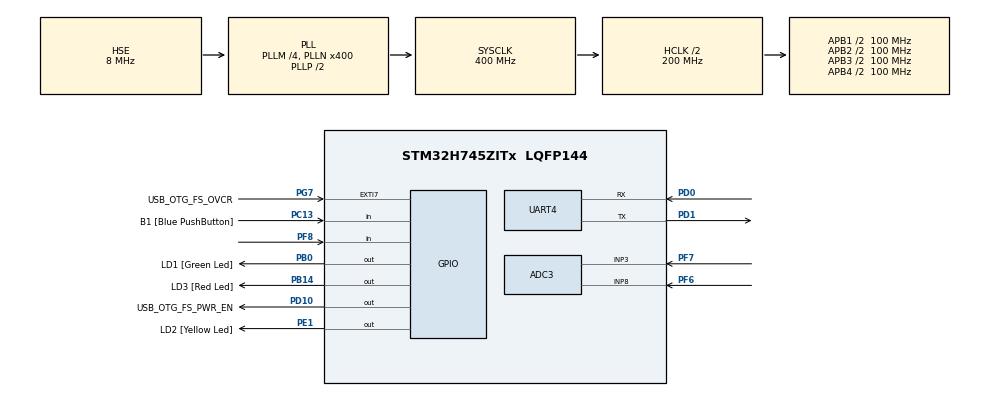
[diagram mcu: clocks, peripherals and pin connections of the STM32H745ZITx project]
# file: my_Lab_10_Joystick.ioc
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ADC3.Channel-0\#ChannelRegularConversion=ADC_CHANNEL_8
ADC3.Channel-1\#ChannelRegularConversion=ADC_CHANNEL_3
ADC3.DiscontinuousConvMode=ENABLE
ADC3.NbrOfConversion=2
ADC3.NbrOfConversionFlag=1
ADC3.OffsetNumber-0\#ChannelRegularConversion=ADC_OFFSET_NONE
ADC3.OffsetNumber-1\#ChannelRegularConversion=ADC_OFFSET_NONE
ADC3.OffsetSignedSaturation-0\#ChannelRegularConversion=DISABLE
ADC3.OffsetSignedSaturation-1\#ChannelRegularConversion=DISABLE
ADC3.Rank-0\#ChannelRegularConversion=1
ADC3.Rank-1\#ChannelRegularConversion=2
ADC3.SamplingTime-0\#ChannelRegularConversion=ADC_SAMPLETIME_1CYCLE_5
ADC3.SamplingTime-1\#ChannelRegularConversion=ADC_SAMPLETIME_1CYCLE_5
CortexM4.IPs=FATFS_M4\:I,FREERTOS_M4\:I,IWDG2\:I,RCC,WWDG2\:I,DMA,BDMA,MDMA,NVIC2\:I,USART3,ETH,DEBUG,PDM2PCM_M4\:I,PWR,RESMGR_UTILITY,SYS_M4\:I,USB_DEVICE_M4\:I,USB_HOST_M4\:I,CORTEX_M4\:I,GPIO,OPENAMP_M4\:I,VREFBUF
CortexM7.IPs=FATFS_M7\:I,FREERTOS_M7\:I,IWDG1\:I,RCC\:I,WWDG1\:I,DMA\:I,BDMA\:I,MDMA\:I,NVIC1\:I,SYS\:I,USART3\:I,USB_OTG_FS\:I,ETH\:I,CORTEX_M7\:I,DEBUG\:I,PDM2PCM_M7\:I,PWR\:I,RESMGR_UTILITY\:I,USB_DEVICE_M7\:I,USB_HOST_M7\:I,GPIO\:I,OPENAMP_M7\:I,VREFBUF\:I,ADC3\:I,UART4\:I
CortexM7.Pins=PF8
Mcu.Family=STM32H7
Mcu.Name=STM32H745ZITx
Mcu.Package=LQFP144
NVIC1.PriorityGroup=NVIC_PRIORITYGROUP_4
NVIC2.PriorityGroup=NVIC_PRIORITYGROUP_4
PA1.PinAttribute=CortexM7
PA1.Signal=ETH_REF_CLK
PA11.PinAttribute=CortexM7
PA11.Signal=USB_OTG_FS_DM
PA12.PinAttribute=CortexM7
PA12.Signal=USB_OTG_FS_DP
PA2.PinAttribute=CortexM7
PA2.Signal=ETH_MDIO
PA7.PinAttribute=CortexM7
PA7.Signal=ETH_CRS_DV
PA8.PinAttribute=CortexM7
PA8.Signal=USB_OTG_FS_SOF
PA9.PinAttribute=CortexM7
PA9.Signal=USB_OTG_FS_VBUS
PB0.GPIO_Label=LD1 [Green Led]
PB0.PinAttribute=Free
PB0.Signal=GPIO_Output
PB13.PinAttribute=CortexM7
PB13.Signal=ETH_TXD1
PB14.GPIO_Label=LD3 [Red Led]
PB14.PinAttribute=Free
PB14.Signal=GPIO_Output
PC1.PinAttribute=CortexM7
PC1.Signal=ETH_MDC
PC13.GPIO_Label=B1 [Blue PushButton]
PC13.PinAttribute=Free
PC13.Signal=GPIO_Input
PC14-OSC32_IN\ (OSC32_IN).PinAttribute=CortexM7
PC14-OSC32_IN\ (OSC32_IN).Signal=RCC_OSC32_IN
PC15-OSC32_OUT\ (OSC32_OUT).PinAttribute=CortexM7
PC15-OSC32_OUT\ (OSC32_OUT).Signal=RCC_OSC32_OUT
PC4.PinAttribute=CortexM7
PC4.Signal=ETH_RXD0
PC5.PinAttribute=CortexM7
PC5.Signal=ETH_RXD1
PD0.Mode=Asynchronous
PD0.PinAttribute=CortexM7
PD0.Signal=UART4_RX
PD1.Mode=Asynchronous
PD1.PinAttribute=CortexM7
PD1.Signal=UART4_TX
PD10.GPIO_Label=USB_OTG_FS_PWR_EN
PD10.PinAttribute=Free
PD10.Signal=GPIO_Output
PD8.GPIO_Label=STLINK_RX
PD8.PinAttribute=CortexM7
PD8.Signal=USART3_TX
PD9.GPIO_Label=STLINK_TX
PD9.PinAttribute=CortexM7
PD9.Signal=USART3_RX
PE1.GPIO_Label=LD2 [Yellow Led]
PE1.PinAttribute=Free
PE1.Signal=GPIO_Output
PF6.Mode=IN8-Single-Ended
PF6.PinAttribute=CortexM7
PF6.Signal=ADC3_INP8
PF7.Mode=IN3-Single-Ended
PF7.PinAttribute=CortexM7
PF7.Signal=ADC3_INP3
PF8.GPIO_Mode=GPIO_MODE_INPUT
PF8.GPIO_PuPd=GPIO_PULLDOWN
PF8.PinAttribute=CortexM7
PF8.Signal=GPIO_Input
PG11.PinAttribute=CortexM7
PG11.Signal=ETH_TX_EN
PG13.PinAttribute=CortexM7
PG13.Signal=ETH_TXD0
PG7.GPIO_Label=USB_OTG_FS_OVCR
PG7.PinAttribute=Free
PG7.Signal=GPXTI7
PH0-OSC_IN\ (PH0).Mode=HSE-External-Clock-Source
PH0-OSC_IN\ (PH0).PinAttribute=CortexM7
PH0-OSC_IN\ (PH0).Signal=RCC_OSC_IN
PH1-OSC_OUT\ (PH1).PinAttribute=CortexM7
PH1-OSC_OUT\ (PH1).Signal=RCC_OSC_OUT
ProjectManager.HeapSize=M4-0x200,M7-0x200
ProjectManager.StackSize=M4-0x400,M7-0x400
ProjectManager.TargetToolchain=STM32CubeIDE
RCC.ADCFreq_Value=76000000
RCC.APB1Freq_Value=100000000
RCC.APB2Freq_Value=100000000
RCC.APB3Freq_Value=100000000
RCC.APB4Freq_Value=100000000
RCC.CortexFreq_Value=400000000
RCC.D1PPRE=RCC_APB3_DIV2
RCC.D2PPRE1=RCC_APB1_DIV2
RCC.D2PPRE2=RCC_APB2_DIV2
RCC.D3PPRE=RCC_APB4_DIV2
RCC.DIVM1=4
RCC.DIVM2=1
RCC.DIVM3=22
RCC.DIVN1=400
RCC.DIVN2=19
RCC.DIVN3=169
RCC.DIVQ3=4
RCC.HCLKFreq_Value=200000000
RCC.HPRE=RCC_HCLK_DIV2
RCC.HSE_VALUE=8000000
RCC.PLL2FRACN=0
RCC.PLL3FRACN=0
RCC.PLLFRACN=0
RCC.PLLSourceVirtual=RCC_PLLSOURCE_HSE
RCC.SYSCLKFreq_VALUE=400000000
RCC.SYSCLKSource=RCC_SYSCLKSOURCE_PLLCLK
RCC.SupplySource=PWR_DIRECT_SMPS_SUPPLY
RCC.USBCLockSelection=RCC_USBCLKSOURCE_PLL3
RCC.USBFreq_Value=15363636.363636363
VP_SYS_M4_VS_Systick.Mode=SysTick
board=NUCLEO-H745ZI-Q

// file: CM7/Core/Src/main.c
/* USER CODE BEGIN Header */
/**
  ******************************************************************************
  * @file           : main.c
  * @brief          : Main program body
  ******************************************************************************
  * @attention
  *
  * Copyright (c) 2024 STMicroelectronics.
  * All rights reserved.
  *
  * This software is licensed under terms that can be found in the LICENSE file
  * in the root directory of this software component.
  * If no LICENSE file comes with this software, it is provided AS-IS.
  *
  ******************************************************************************
  */
/* USER CODE END Header */
#include "main.h"

/* USER CODE BEGIN Includes */
#include <stdio.h>
int __io_putchar(int ch)
{
  // Write character to ITM ch.0
  ITM_SendChar(ch);
  return(ch);
}
/* USER CODE END Includes */

/* USER CODE BEGIN PD */

#ifndef HSEM_ID_0
#define HSEM_ID_0 (0U) /* HW semaphore 0*/
#endif
/* USER CODE END PD */

ADC_HandleTypeDef hadc3;

UART_HandleTypeDef huart4;

void SystemClock_Config(void);
static void MX_GPIO_Init(void);
static void MX_ADC3_Init(void);
static void MX_UART4_Init(void);

int main(void)
{
/* USER CODE BEGIN Boot_Mode_Sequence_0 */
  int32_t timeout;
/* USER CODE END Boot_Mode_Sequence_0 */

/* USER CODE BEGIN Boot_Mode_Sequence_1 */
  /* Wait until CPU2 boots and enters in stop mode or timeout*/
  timeout = 0xFFFF;
  while((__HAL_RCC_GET_FLAG(RCC_FLAG_D2CKRDY) != RESET) && (timeout-- > 0));
  if ( timeout < 0 )
  {
  Error_Handler();
  }
/* USER CODE END Boot_Mode_Sequence_1 */
  /* MCU Configuration--------------------------------------------------------*/

  /* Reset of all peripherals, Initializes the Flash interface and the Systick. */
  HAL_Init();

  /* Configure the system clock */
  SystemClock_Config();
/* USER CODE BEGIN Boot_Mode_Sequence_2 */
/* When system initialization is finished, Cortex-M7 will release Cortex-M4 by means of
HSEM notification */
/*HW semaphore Clock enable*/
__HAL_RCC_HSEM_CLK_ENABLE();
/*Take HSEM */
HAL_HSEM_FastTake(HSEM_ID_0);
/*Release HSEM in order to notify the CPU2(CM4)*/
HAL_HSEM_Release(HSEM_ID_0,0);
/* wait until CPU2 wakes up from stop mode */
timeout = 0xFFFF;
while((__HAL_RCC_GET_FLAG(RCC_FLAG_D2CKRDY) == RESET) && (timeout-- > 0));
if ( timeout < 0 )
{
Error_Handler();
}
/* USER CODE END Boot_Mode_Sequence_2 */

  /* Initialize all configured peripherals */
  MX_GPIO_Init();
  MX_ADC3_Init();
  MX_UART4_Init();
  /* USER CODE BEGIN 2 */

  uint8_t x = 0;
  uint8_t y = 0;

  uint32_t x_value = 0;
  uint32_t y_value = 0;

  uint8_t convert_range_new(uint32_t i) {
      if (i > 65535) i = 65535;  // Нижняя граница не нужна: uint32_t >= 0 всегда

      return (i * 200) / 65535;
  }

  GPIO_PinState curr_state_but = GPIO_PIN_RESET;
  uint8_t flag = 0;
  /* USER CODE END 2 */

  /* Infinite loop */
  while (1)
  {

    /* USER CODE BEGIN 3 */
	curr_state_but = HAL_GPIO_ReadPin(GPIOF, GPIO_PIN_8);

	if (flag == 0) {
		if (curr_state_but == GPIO_PIN_SET) {
//			flag = 1;
		    uint8_t data[3] = {1, x, y};
		    HAL_UART_Transmit(&huart4, data, 3, HAL_MAX_DELAY);
			printf("TAKE OBJECT!\r\n");
			HAL_Delay(200);
		}
		else {
			HAL_ADC_Start(&hadc3);
			HAL_ADC_PollForConversion(&hadc3, HAL_MAX_DELAY);
			x_value = HAL_ADC_GetValue(&hadc3);
			x = convert_range_new(x_value);

			HAL_ADC_Start(&hadc3);
			HAL_ADC_PollForConversion(&hadc3, HAL_MAX_DELAY);
			y_value = HAL_ADC_GetValue(&hadc3);
			y = convert_range_new(y_value);

			uint8_t data[3] = {0, x, y};
			HAL_UART_Transmit(&huart4, data, 3, HAL_MAX_DELAY);
			printf("%d %d\r",x,y);
			printf("Waiting command...\r\n");
			HAL_Delay(200);
		}
	}
	else {
		printf("AUTO\r\n");
		HAL_Delay(1000);
	}

  }
  /* USER CODE END 3 */
}

void SystemClock_Config(void)
{
  RCC_OscInitTypeDef RCC_OscInitStruct = {0};
  RCC_ClkInitTypeDef RCC_ClkInitStruct = {0};

  /** Supply configuration update enable
  */
  HAL_PWREx_ConfigSupply(PWR_DIRECT_SMPS_SUPPLY);

  /** Configure the main internal regulator output voltage
  */
  __HAL_PWR_VOLTAGESCALING_CONFIG(PWR_REGULATOR_VOLTAGE_SCALE1);

  while(!__HAL_PWR_GET_FLAG(PWR_FLAG_VOSRDY)) {}

  /** Macro to configure the PLL clock source
  */
  __HAL_RCC_PLL_PLLSOURCE_CONFIG(RCC_PLLSOURCE_HSE);

  /** Initializes the RCC Oscillators according to the specified parameters
  * in the RCC_OscInitTypeDef structure.
  */
  RCC_OscInitStruct.OscillatorType = RCC_OSCILLATORTYPE_HSE;
  RCC_OscInitStruct.HSEState = RCC_HSE_BYPASS;
  RCC_OscInitStruct.PLL.PLLState = RCC_PLL_ON;
  RCC_OscInitStruct.PLL.PLLSource = RCC_PLLSOURCE_HSE;
  RCC_OscInitStruct.PLL.PLLM = 4;
  RCC_OscInitStruct.PLL.PLLN = 400;
  RCC_OscInitStruct.PLL.PLLP = 2;
  RCC_OscInitStruct.PLL.PLLQ = 2;
  RCC_OscInitStruct.PLL.PLLR = 2;
  RCC_OscInitStruct.PLL.PLLRGE = RCC_PLL1VCIRANGE_1;
  RCC_OscInitStruct.PLL.PLLVCOSEL = RCC_PLL1VCOWIDE;
  RCC_OscInitStruct.PLL.PLLFRACN = 0;
  if (HAL_RCC_OscConfig(&RCC_OscInitStruct) != HAL_OK)
  {
    Error_Handler();
  }

  /** Initializes the CPU, AHB and APB buses clocks
  */
  RCC_ClkInitStruct.ClockType = RCC_CLOCKTYPE_HCLK|RCC_CLOCKTYPE_SYSCLK
                              |RCC_CLOCKTYPE_PCLK1|RCC_CLOCKTYPE_PCLK2
                              |RCC_CLOCKTYPE_D3PCLK1|RCC_CLOCKTYPE_D1PCLK1;
  RCC_ClkInitStruct.SYSCLKSource = RCC_SYSCLKSOURCE_PLLCLK;
  RCC_ClkInitStruct.SYSCLKDivider = RCC_SYSCLK_DIV1;
  RCC_ClkInitStruct.AHBCLKDivider = RCC_HCLK_DIV2;
  RCC_ClkInitStruct.APB3CLKDivider = RCC_APB3_DIV2;
  RCC_ClkInitStruct.APB1CLKDivider = RCC_APB1_DIV2;
  RCC_ClkInitStruct.APB2CLKDivider = RCC_APB2_DIV2;
  RCC_ClkInitStruct.APB4CLKDivider = RCC_APB4_DIV2;

  if (HAL_RCC_ClockConfig(&RCC_ClkInitStruct, FLASH_LATENCY_2) != HAL_OK)
  {
    Error_Handler();
  }
}

static void MX_ADC3_Init(void)
{

  ADC_ChannelConfTypeDef sConfig = {0};

  /** Common config
  */
  hadc3.Instance = ADC3;
  hadc3.Init.Resolution = ADC_RESOLUTION_16B;
  hadc3.Init.ScanConvMode = ADC_SCAN_ENABLE;
  hadc3.Init.EOCSelection = ADC_EOC_SINGLE_CONV;
  hadc3.Init.LowPowerAutoWait = DISABLE;
  hadc3.Init.ContinuousConvMode = DISABLE;
  hadc3.Init.NbrOfConversion = 2;
  hadc3.Init.DiscontinuousConvMode = ENABLE;
  hadc3.Init.NbrOfDiscConversion = 1;
  hadc3.Init.ExternalTrigConv = ADC_SOFTWARE_START;
  hadc3.Init.ExternalTrigConvEdge = ADC_EXTERNALTRIGCONVEDGE_NONE;
  hadc3.Init.ConversionDataManagement = ADC_CONVERSIONDATA_DR;
  hadc3.Init.Overrun = ADC_OVR_DATA_PRESERVED;
  hadc3.Init.LeftBitShift = ADC_LEFTBITSHIFT_NONE;
  hadc3.Init.OversamplingMode = DISABLE;
  if (HAL_ADC_Init(&hadc3) != HAL_OK)
  {
    Error_Handler();
  }

  /** Configure Regular Channel
  */
  sConfig.Channel = ADC_CHANNEL_8;
  sConfig.Rank = ADC_REGULAR_RANK_1;
  sConfig.SamplingTime = ADC_SAMPLETIME_1CYCLE_5;
  sConfig.SingleDiff = ADC_SINGLE_ENDED;
  sConfig.OffsetNumber = ADC_OFFSET_NONE;
  sConfig.Offset = 0;
  sConfig.OffsetSignedSaturation = DISABLE;
  if (HAL_ADC_ConfigChannel(&hadc3, &sConfig) != HAL_OK)
  {
    Error_Handler();
  }

  /** Configure Regular Channel
  */
  sConfig.Channel = ADC_CHANNEL_3;
  sConfig.Rank = ADC_REGULAR_RANK_2;
  if (HAL_ADC_ConfigChannel(&hadc3, &sConfig) != HAL_OK)
  {
    Error_Handler();
  }

}

static void MX_UART4_Init(void)
{

  huart4.Instance = UART4;
  huart4.Init.BaudRate = 115200;
  huart4.Init.WordLength = UART_WORDLENGTH_8B;
  huart4.Init.StopBits = UART_STOPBITS_1;
  huart4.Init.Parity = UART_PARITY_NONE;
  huart4.Init.Mode = UART_MODE_TX_RX;
  huart4.Init.HwFlowCtl = UART_HWCONTROL_NONE;
  huart4.Init.OverSampling = UART_OVERSAMPLING_16;
  huart4.Init.OneBitSampling = UART_ONE_BIT_SAMPLE_DISABLE;
  huart4.Init.ClockPrescaler = UART_PRESCALER_DIV1;
  huart4.AdvancedInit.AdvFeatureInit = UART_ADVFEATURE_NO_INIT;
  if (HAL_UART_Init(&huart4) != HAL_OK)
  {
    Error_Handler();
  }
  if (HAL_UARTEx_SetTxFifoThreshold(&huart4, UART_TXFIFO_THRESHOLD_1_8) != HAL_OK)
  {
    Error_Handler();
  }
  if (HAL_UARTEx_SetRxFifoThreshold(&huart4, UART_RXFIFO_THRESHOLD_1_8) != HAL_OK)
  {
    Error_Handler();
  }
  if (HAL_UARTEx_DisableFifoMode(&huart4) != HAL_OK)
  {
    Error_Handler();
  }

}

static void MX_GPIO_Init(void)
{
  GPIO_InitTypeDef GPIO_InitStruct = {0};

  /* GPIO Ports Clock Enable */
  __HAL_RCC_GPIOC_CLK_ENABLE();
  __HAL_RCC_GPIOF_CLK_ENABLE();
  __HAL_RCC_GPIOH_CLK_ENABLE();
  __HAL_RCC_GPIOA_CLK_ENABLE();
  __HAL_RCC_GPIOB_CLK_ENABLE();
  __HAL_RCC_GPIOD_CLK_ENABLE();
  __HAL_RCC_GPIOG_CLK_ENABLE();

  /*Configure GPIO pin : PF8 */
  GPIO_InitStruct.Pin = GPIO_PIN_8;
  GPIO_InitStruct.Mode = GPIO_MODE_INPUT;
  GPIO_InitStruct.Pull = GPIO_PULLDOWN;
  HAL_GPIO_Init(GPIOF, &GPIO_InitStruct);

  /*Configure GPIO pins : PC1 PC4 PC5 */
  GPIO_InitStruct.Pin = GPIO_PIN_1|GPIO_PIN_4|GPIO_PIN_5;
  GPIO_InitStruct.Mode = GPIO_MODE_AF_PP;
  GPIO_InitStruct.Pull = GPIO_NOPULL;
  GPIO_InitStruct.Speed = GPIO_SPEED_FREQ_LOW;
  GPIO_InitStruct.Alternate = GPIO_AF11_ETH;
  HAL_GPIO_Init(GPIOC, &GPIO_InitStruct);

  /*Configure GPIO pins : PA1 PA2 PA7 */
  GPIO_InitStruct.Pin = GPIO_PIN_1|GPIO_PIN_2|GPIO_PIN_7;
  GPIO_InitStruct.Mode = GPIO_MODE_AF_PP;
  GPIO_InitStruct.Pull = GPIO_NOPULL;
  GPIO_InitStruct.Speed = GPIO_SPEED_FREQ_LOW;
  GPIO_InitStruct.Alternate = GPIO_AF11_ETH;
  HAL_GPIO_Init(GPIOA, &GPIO_InitStruct);

  /*Configure GPIO pin : PB13 */
  GPIO_InitStruct.Pin = GPIO_PIN_13;
  GPIO_InitStruct.Mode = GPIO_MODE_AF_PP;
  GPIO_InitStruct.Pull = GPIO_NOPULL;
  GPIO_InitStruct.Speed = GPIO_SPEED_FREQ_LOW;
  GPIO_InitStruct.Alternate = GPIO_AF11_ETH;
  HAL_GPIO_Init(GPIOB, &GPIO_InitStruct);

  /*Configure GPIO pins : PD8 PD9 */
  GPIO_InitStruct.Pin = GPIO_PIN_8|GPIO_PIN_9;
  GPIO_InitStruct.Mode = GPIO_MODE_AF_PP;
  GPIO_InitStruct.Pull = GPIO_NOPULL;
  GPIO_InitStruct.Speed = GPIO_SPEED_FREQ_LOW;
  GPIO_InitStruct.Alternate = GPIO_AF7_USART3;
  HAL_GPIO_Init(GPIOD, &GPIO_InitStruct);

  /*Configure GPIO pins : PA8 PA11 PA12 */
  GPIO_InitStruct.Pin = GPIO_PIN_8|GPIO_PIN_11|GPIO_PIN_12;
  GPIO_InitStruct.Mode = GPIO_MODE_AF_PP;
  GPIO_InitStruct.Pull = GPIO_NOPULL;
  GPIO_InitStruct.Speed = GPIO_SPEED_FREQ_LOW;
  GPIO_InitStruct.Alternate = GPIO_AF10_OTG1_FS;
  HAL_GPIO_Init(GPIOA, &GPIO_InitStruct);

  /*Configure GPIO pins : PG11 PG13 */
  GPIO_InitStruct.Pin = GPIO_PIN_11|GPIO_PIN_13;
  GPIO_InitStruct.Mode = GPIO_MODE_AF_PP;
  GPIO_InitStruct.Pull = GPIO_NOPULL;
  GPIO_InitStruct.Speed = GPIO_SPEED_FREQ_LOW;
  GPIO_InitStruct.Alternate = GPIO_AF11_ETH;
  HAL_GPIO_Init(GPIOG, &GPIO_InitStruct);

}

void Error_Handler(void)
{
  __disable_irq();
  while (1)
  {
  }
}
